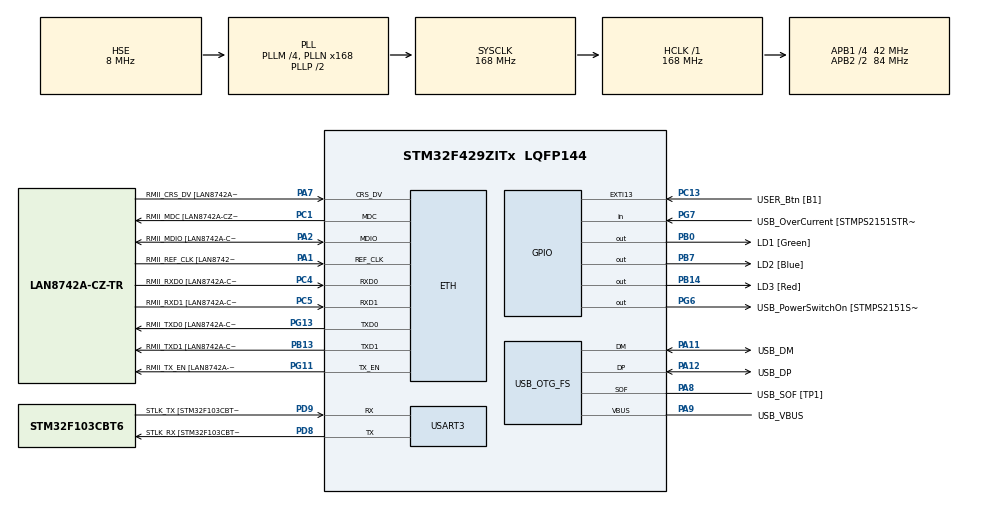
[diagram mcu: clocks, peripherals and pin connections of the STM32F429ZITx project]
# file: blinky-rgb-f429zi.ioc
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ETH.MediaInterface=HAL_ETH_RMII_MODE
ETH.PHY_Name=LAN8742A_PHY_ADDRESS
ETH.PHY_Value=0
ETH.PhyAddress=0
FREERTOS.Tasks01=WaitTask,1,128,StartWaitTask,Default,NULL,Dynamic,NULL,NULL;WriteTask,0,128,StartWriteTask,Default,NULL,Dynamic,NULL,NULL
FREERTOS.configUSE_NEWLIB_REENTRANT=1
Mcu.Family=STM32F4
Mcu.Name=STM32F429ZITx
Mcu.Package=LQFP144
NVIC.PriorityGroup=NVIC_PRIORITYGROUP_4
NVIC.TIM6_DAC_IRQn=true\:15\:0\:false\:false\:true\:false\:false\:true\:true
NVIC.TimeBase=TIM6_DAC_IRQn
NVIC.TimeBaseIP=TIM6
PA1.GPIO_Label=RMII_REF_CLK [LAN8742A-CZ-TR_REFCLK0]
PA1.Mode=RMII
PA1.Signal=ETH_REF_CLK
PA10.GPIO_Label=USB_ID
PA10.Signal=USB_OTG_FS_ID
PA11.GPIO_Label=USB_DM
PA11.Mode=Device_Only
PA11.Signal=USB_OTG_FS_DM
PA12.GPIO_Label=USB_DP
PA12.Mode=Device_Only
PA12.Signal=USB_OTG_FS_DP
PA13.GPIO_Label=TMS
PA13.Mode=Serial_Wire
PA13.Signal=SYS_JTMS-SWDIO
PA14.GPIO_Label=TCK
PA14.Mode=Serial_Wire
PA14.Signal=SYS_JTCK-SWCLK
PA2.GPIO_Label=RMII_MDIO [LAN8742A-CZ-TR_MDIO]
PA2.Mode=RMII
PA2.Signal=ETH_MDIO
PA7.GPIO_Label=RMII_CRS_DV [LAN8742A-CZ-TR_CRS_DV]
PA7.Mode=RMII
PA7.Signal=ETH_CRS_DV
PA8.GPIO_Label=USB_SOF [TP1]
PA8.Mode=Activate_SOF_FS
PA8.Signal=USB_OTG_FS_SOF
PA9.GPIO_Label=USB_VBUS
PA9.Mode=Activate_VBUS
PA9.Signal=USB_OTG_FS_VBUS
PB0.GPIO_Label=LD1 [Green]
PB0.Signal=GPIO_Output
PB13.GPIO_Label=RMII_TXD1 [LAN8742A-CZ-TR_TXD1]
PB13.Mode=RMII
PB13.Signal=ETH_TXD1
PB14.GPIO_Label=LD3 [Red]
PB14.Signal=GPIO_Output
PB7.GPIO_Label=LD2 [Blue]
PB7.Signal=GPIO_Output
PC1.GPIO_Label=RMII_MDC [LAN8742A-CZ-TR_MDC]
PC1.Mode=RMII
PC1.Signal=ETH_MDC
PC13.GPIO_Label=USER_Btn [B1]
PC13.Signal=GPXTI13
PC14/OSC32_IN.Mode=LSE-External-Oscillator
PC14/OSC32_IN.Signal=RCC_OSC32_IN
PC15/OSC32_OUT.Mode=LSE-External-Oscillator
PC15/OSC32_OUT.Signal=RCC_OSC32_OUT
PC4.GPIO_Label=RMII_RXD0 [LAN8742A-CZ-TR_RXD0]
PC4.Mode=RMII
PC4.Signal=ETH_RXD0
PC5.GPIO_Label=RMII_RXD1 [LAN8742A-CZ-TR_RXD1]
PC5.Mode=RMII
PC5.Signal=ETH_RXD1
PD8.GPIO_Label=STLK_RX [STM32F103CBT6_PA3]
PD8.Mode=Asynchronous
PD8.Signal=USART3_TX
PD9.GPIO_Label=STLK_TX [STM32F103CBT6_PA2]
PD9.Mode=Asynchronous
PD9.Signal=USART3_RX
PG11.GPIO_Label=RMII_TX_EN [LAN8742A-CZ-TR_TXEN]
PG11.Mode=RMII
PG11.Signal=ETH_TX_EN
PG13.GPIO_Label=RMII_TXD0 [LAN8742A-CZ-TR_TXD0]
PG13.Mode=RMII
PG13.Signal=ETH_TXD0
PG6.GPIO_Label=USB_PowerSwitchOn [STMPS2151STR_EN]
PG6.Signal=GPIO_Output
PG7.GPIO_Label=USB_OverCurrent [STMPS2151STR_FAULT]
PG7.Signal=GPIO_Input
PH0/OSC_IN.GPIO_Label=MCO [STM32F103CBT6_PA8]
PH0/OSC_IN.Mode=HSE-External-Clock-Source
PH0/OSC_IN.Signal=RCC_OSC_IN
PH1/OSC_OUT.Mode=HSE-External-Clock-Source
PH1/OSC_OUT.Signal=RCC_OSC_OUT
ProjectManager.HeapSize=0x200
ProjectManager.StackSize=0x400
ProjectManager.TargetToolchain=STM32CubeIDE
RCC.48MHZClocksFreq_Value=48000000
RCC.AHBFreq_Value=168000000
RCC.APB1CLKDivider=RCC_HCLK_DIV4
RCC.APB1Freq_Value=42000000
RCC.APB1TimFreq_Value=84000000
RCC.APB2CLKDivider=RCC_HCLK_DIV2
RCC.APB2Freq_Value=84000000
RCC.APB2TimCLKDivider=2
RCC.APB2TimFreq_Value=168000000
RCC.CortexFreq_Value=168000000
RCC.HCLKFreq_Value=168000000
RCC.HSE_VALUE=8000000
RCC.HSI_VALUE=16000000
RCC.PLLM=4
RCC.PLLMUL=RCC_PLL_MUL9
RCC.PLLN=168
RCC.PLLQ=7
RCC.PRESCALERUSB=RCC_USBCLKSOURCE_PLL_DIV1_5
RCC.SYSCLKFreq_VALUE=168000000
RCC.SYSCLKSource=RCC_SYSCLKSOURCE_PLLCLK
RCC.SYSCLKSourceVirtual=RCC_SYSCLKSOURCE_PLLCLK
RCC.USBFreq_Value=48000000
RCC.VCOOutputFreq_Value=336000000
USART3.VirtualMode=VM_ASYNC
USB_OTG_FS.VirtualMode=Device_Only
VP_FREERTOS_VS_CMSIS_V1.Mode=CMSIS_V1
VP_SYS_VS_tim6.Mode=TIM6
VP_TIM1_VS_ClockSourceINT.Mode=Internal
board=NUCLEO-F429ZI

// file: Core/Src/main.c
/* USER CODE BEGIN Header */
/**
  ******************************************************************************
  * @file           : main.c
  * @brief          : Main program body
  ******************************************************************************
  * @attention
  *
  * Copyright (c) 2022 STMicroelectronics.
  * All rights reserved.
  *
  * This software is licensed under terms that can be found in the LICENSE file
  * in the root directory of this software component.
  * If no LICENSE file comes with this software, it is provided AS-IS.
  *
  ******************************************************************************
  */
/* USER CODE END Header */
#include "main.h"
#include "string.h"
#include "cmsis_os.h"

ETH_TxPacketConfig TxConfig;
ETH_DMADescTypeDef  DMARxDscrTab[ETH_RX_DESC_CNT]; /* Ethernet Rx DMA Descriptors */
ETH_DMADescTypeDef  DMATxDscrTab[ETH_TX_DESC_CNT]; /* Ethernet Tx DMA Descriptors */

 ETH_HandleTypeDef heth;

TIM_HandleTypeDef htim1;

UART_HandleTypeDef huart3;

PCD_HandleTypeDef hpcd_USB_OTG_FS;

osThreadId WaitTaskHandle;
osThreadId WriteTaskHandle;
/* USER CODE BEGIN PV */
uint8_t Rx_data[10];  //  creating a buffer of 5 bytes for "AT+LED"
uint8_t testReceiveData[10];  //  creating a buffer of 10 bytes
int red_flag;
int green_flag;
int blue_flag;
/* USER CODE END PV */

void SystemClock_Config(void);
static void MX_GPIO_Init(void);
static void MX_ETH_Init(void);
static void MX_USART3_UART_Init(void);
static void MX_USB_OTG_FS_PCD_Init(void);
static void MX_TIM1_Init(void);
void StartWaitTask(void const * argument);
void StartWriteTask(void const * argument);

int main(void)
{

  /* MCU Configuration--------------------------------------------------------*/

  /* Reset of all peripherals, Initializes the Flash interface and the Systick. */
  HAL_Init();

  /* Configure the system clock */
  SystemClock_Config();

  /* Initialize all configured peripherals */
  MX_GPIO_Init();
  MX_ETH_Init();
  MX_USART3_UART_Init();
  MX_USB_OTG_FS_PCD_Init();
  MX_TIM1_Init();

  /* Create the thread(s) */
  /* definition and creation of WaitTask */
  osThreadDef(WaitTask, StartWaitTask, osPriorityAboveNormal, 0, 128);
  WaitTaskHandle = osThreadCreate(osThread(WaitTask), NULL);

  /* definition and creation of WriteTask */
  osThreadDef(WriteTask, StartWriteTask, osPriorityNormal, 0, 128);
  WriteTaskHandle = osThreadCreate(osThread(WriteTask), NULL);

  /* Start scheduler */
  osKernelStart();

  /* We should never get here as control is now taken by the scheduler */
  /* Infinite loop */
  while (1)
  {

  }
}

void SystemClock_Config(void)
{
  RCC_OscInitTypeDef RCC_OscInitStruct = {0};
  RCC_ClkInitTypeDef RCC_ClkInitStruct = {0};

  /** Configure the main internal regulator output voltage
  */
  __HAL_RCC_PWR_CLK_ENABLE();
  __HAL_PWR_VOLTAGESCALING_CONFIG(PWR_REGULATOR_VOLTAGE_SCALE1);

  /** Initializes the RCC Oscillators according to the specified parameters
  * in the RCC_OscInitTypeDef structure.
  */
  RCC_OscInitStruct.OscillatorType = RCC_OSCILLATORTYPE_HSE;
  RCC_OscInitStruct.HSEState = RCC_HSE_BYPASS;
  RCC_OscInitStruct.PLL.PLLState = RCC_PLL_ON;
  RCC_OscInitStruct.PLL.PLLSource = RCC_PLLSOURCE_HSE;
  RCC_OscInitStruct.PLL.PLLM = 4;
  RCC_OscInitStruct.PLL.PLLN = 168;
  RCC_OscInitStruct.PLL.PLLP = RCC_PLLP_DIV2;
  RCC_OscInitStruct.PLL.PLLQ = 7;
  if (HAL_RCC_OscConfig(&RCC_OscInitStruct) != HAL_OK)
  {
    Error_Handler();
  }

  /** Initializes the CPU, AHB and APB buses clocks
  */
  RCC_ClkInitStruct.ClockType = RCC_CLOCKTYPE_HCLK|RCC_CLOCKTYPE_SYSCLK
                              |RCC_CLOCKTYPE_PCLK1|RCC_CLOCKTYPE_PCLK2;
  RCC_ClkInitStruct.SYSCLKSource = RCC_SYSCLKSOURCE_PLLCLK;
  RCC_ClkInitStruct.AHBCLKDivider = RCC_SYSCLK_DIV1;
  RCC_ClkInitStruct.APB1CLKDivider = RCC_HCLK_DIV4;
  RCC_ClkInitStruct.APB2CLKDivider = RCC_HCLK_DIV2;

  if (HAL_RCC_ClockConfig(&RCC_ClkInitStruct, FLASH_LATENCY_5) != HAL_OK)
  {
    Error_Handler();
  }
}

static void MX_ETH_Init(void)
{

   static uint8_t MACAddr[6];

  heth.Instance = ETH;
  MACAddr[0] = 0x00;
  MACAddr[1] = 0x80;
  MACAddr[2] = 0xE1;
  MACAddr[3] = 0x00;
  MACAddr[4] = 0x00;
  MACAddr[5] = 0x00;
  heth.Init.MACAddr = &MACAddr[0];
  heth.Init.MediaInterface = HAL_ETH_RMII_MODE;
  heth.Init.TxDesc = DMATxDscrTab;
  heth.Init.RxDesc = DMARxDscrTab;
  heth.Init.RxBuffLen = 1524;

  if (HAL_ETH_Init(&heth) != HAL_OK)
  {
    Error_Handler();
  }

  memset(&TxConfig, 0 , sizeof(ETH_TxPacketConfig));
  TxConfig.Attributes = ETH_TX_PACKETS_FEATURES_CSUM | ETH_TX_PACKETS_FEATURES_CRCPAD;
  TxConfig.ChecksumCtrl = ETH_CHECKSUM_IPHDR_PAYLOAD_INSERT_PHDR_CALC;
  TxConfig.CRCPadCtrl = ETH_CRC_PAD_INSERT;

}

static void MX_TIM1_Init(void)
{

  TIM_ClockConfigTypeDef sClockSourceConfig = {0};
  TIM_MasterConfigTypeDef sMasterConfig = {0};

  htim1.Instance = TIM1;
  htim1.Init.Prescaler = 0;
  htim1.Init.CounterMode = TIM_COUNTERMODE_UP;
  htim1.Init.Period = 65535;
  htim1.Init.ClockDivision = TIM_CLOCKDIVISION_DIV1;
  htim1.Init.RepetitionCounter = 0;
  htim1.Init.AutoReloadPreload = TIM_AUTORELOAD_PRELOAD_DISABLE;
  if (HAL_TIM_Base_Init(&htim1) != HAL_OK)
  {
    Error_Handler();
  }
  sClockSourceConfig.ClockSource = TIM_CLOCKSOURCE_INTERNAL;
  if (HAL_TIM_ConfigClockSource(&htim1, &sClockSourceConfig) != HAL_OK)
  {
    Error_Handler();
  }
  sMasterConfig.MasterOutputTrigger = TIM_TRGO_RESET;
  sMasterConfig.MasterSlaveMode = TIM_MASTERSLAVEMODE_DISABLE;
  if (HAL_TIMEx_MasterConfigSynchronization(&htim1, &sMasterConfig) != HAL_OK)
  {
    Error_Handler();
  }

}

static void MX_USART3_UART_Init(void)
{

  huart3.Instance = USART3;
  huart3.Init.BaudRate = 115200;
  huart3.Init.WordLength = UART_WORDLENGTH_8B;
  huart3.Init.StopBits = UART_STOPBITS_1;
  huart3.Init.Parity = UART_PARITY_NONE;
  huart3.Init.Mode = UART_MODE_TX_RX;
  huart3.Init.HwFlowCtl = UART_HWCONTROL_NONE;
  huart3.Init.OverSampling = UART_OVERSAMPLING_16;
  if (HAL_UART_Init(&huart3) != HAL_OK)
  {
    Error_Handler();
  }

}

static void MX_USB_OTG_FS_PCD_Init(void)
{

  hpcd_USB_OTG_FS.Instance = USB_OTG_FS;
  hpcd_USB_OTG_FS.Init.dev_endpoints = 4;
  hpcd_USB_OTG_FS.Init.speed = PCD_SPEED_FULL;
  hpcd_USB_OTG_FS.Init.dma_enable = DISABLE;
  hpcd_USB_OTG_FS.Init.phy_itface = PCD_PHY_EMBEDDED;
  hpcd_USB_OTG_FS.Init.Sof_enable = ENABLE;
  hpcd_USB_OTG_FS.Init.low_power_enable = DISABLE;
  hpcd_USB_OTG_FS.Init.lpm_enable = DISABLE;
  hpcd_USB_OTG_FS.Init.vbus_sensing_enable = ENABLE;
  hpcd_USB_OTG_FS.Init.use_dedicated_ep1 = DISABLE;
  if (HAL_PCD_Init(&hpcd_USB_OTG_FS) != HAL_OK)
  {
    Error_Handler();
  }

}

static void MX_GPIO_Init(void)
{
  GPIO_InitTypeDef GPIO_InitStruct = {0};

  /* GPIO Ports Clock Enable */
  __HAL_RCC_GPIOC_CLK_ENABLE();
  __HAL_RCC_GPIOH_CLK_ENABLE();
  __HAL_RCC_GPIOA_CLK_ENABLE();
  __HAL_RCC_GPIOB_CLK_ENABLE();
  __HAL_RCC_GPIOD_CLK_ENABLE();
  __HAL_RCC_GPIOG_CLK_ENABLE();

  /*Configure GPIO pin Output Level */
  HAL_GPIO_WritePin(GPIOB, LD1_Pin|LD3_Pin|LD2_Pin, GPIO_PIN_RESET);

  /*Configure GPIO pin Output Level */
  HAL_GPIO_WritePin(USB_PowerSwitchOn_GPIO_Port, USB_PowerSwitchOn_Pin, GPIO_PIN_RESET);

  /*Configure GPIO pin : USER_Btn_Pin */
  GPIO_InitStruct.Pin = USER_Btn_Pin;
  GPIO_InitStruct.Mode = GPIO_MODE_IT_RISING;
  GPIO_InitStruct.Pull = GPIO_NOPULL;
  HAL_GPIO_Init(USER_Btn_GPIO_Port, &GPIO_InitStruct);

  /*Configure GPIO pins : LD1_Pin LD3_Pin LD2_Pin */
  GPIO_InitStruct.Pin = LD1_Pin|LD3_Pin|LD2_Pin;
  GPIO_InitStruct.Mode = GPIO_MODE_OUTPUT_PP;
  GPIO_InitStruct.Pull = GPIO_NOPULL;
  GPIO_InitStruct.Speed = GPIO_SPEED_FREQ_LOW;
  HAL_GPIO_Init(GPIOB, &GPIO_InitStruct);

  /*Configure GPIO pin : USB_PowerSwitchOn_Pin */
  GPIO_InitStruct.Pin = USB_PowerSwitchOn_Pin;
  GPIO_InitStruct.Mode = GPIO_MODE_OUTPUT_PP;
  GPIO_InitStruct.Pull = GPIO_NOPULL;
  GPIO_InitStruct.Speed = GPIO_SPEED_FREQ_LOW;
  HAL_GPIO_Init(USB_PowerSwitchOn_GPIO_Port, &GPIO_InitStruct);

  /*Configure GPIO pin : USB_OverCurrent_Pin */
  GPIO_InitStruct.Pin = USB_OverCurrent_Pin;
  GPIO_InitStruct.Mode = GPIO_MODE_INPUT;
  GPIO_InitStruct.Pull = GPIO_NOPULL;
  HAL_GPIO_Init(USB_OverCurrent_GPIO_Port, &GPIO_InitStruct);

}

void StartWaitTask(void const * argument)
{
  /* USER CODE BEGIN 5 */
  int i = 0;
  int dummy = 0;

  /* Infinite loop */
  for(;;)
  {
	  HAL_StatusTypeDef stat = HAL_UART_Receive(&huart3, testReceiveData, 1, 5000);
	  if(stat == HAL_OK)
	  {
		Rx_data[i++] = testReceiveData[0]; //AT+LED
		HAL_UART_Transmit(&huart3, testReceiveData, 1, 1000);

	  	if(!strncmp(Rx_data,"AT+GREEN",sizeof(Rx_data)))
	  	{
	  		memset(Rx_data, 0, sizeof(Rx_data));
	  		i = 0;
	  		green_flag = 1;
	  	}

	  	else if(!strncmp(Rx_data,"AT+RED",sizeof(Rx_data)))
	  	{
	  		memset(Rx_data, 0, sizeof(Rx_data));
	  		i = 0;
	  		red_flag = 1;
	  	}

	  	else if(!strncmp(Rx_data,"AT+BLUE",sizeof(Rx_data)))
	  	{
	  		memset(Rx_data, 0, sizeof(Rx_data));
	  		i = 0;
	  		blue_flag = 1;
	  	}
	  }
    osDelay(1);
  }

  /* USER CODE END 5 */
}

void StartWriteTask(void const * argument)
{
  /* USER CODE BEGIN StartWriteTask */
  /* Infinite loop */
  for(;;)
  {
	if(red_flag)
	{
		HAL_GPIO_TogglePin(LD3_GPIO_Port, LD3_Pin); //RED
		red_flag = 0;
	}
	else if(green_flag)
	{
		HAL_GPIO_TogglePin(LD1_GPIO_Port, LD1_Pin); //GREEN
		green_flag = 0;
	}
	else if(blue_flag)
	{
		HAL_GPIO_TogglePin(LD2_GPIO_Port, LD2_Pin); //BLUE
		blue_flag = 0;
	}
    osDelay(1);
  }
  /* USER CODE END StartWriteTask */
}

void HAL_TIM_PeriodElapsedCallback(TIM_HandleTypeDef *htim)
{
  if (htim->Instance == TIM6) {
    HAL_IncTick();
  }
}

void Error_Handler(void)
{
  __disable_irq();
  while (1)
  {
  }
}
